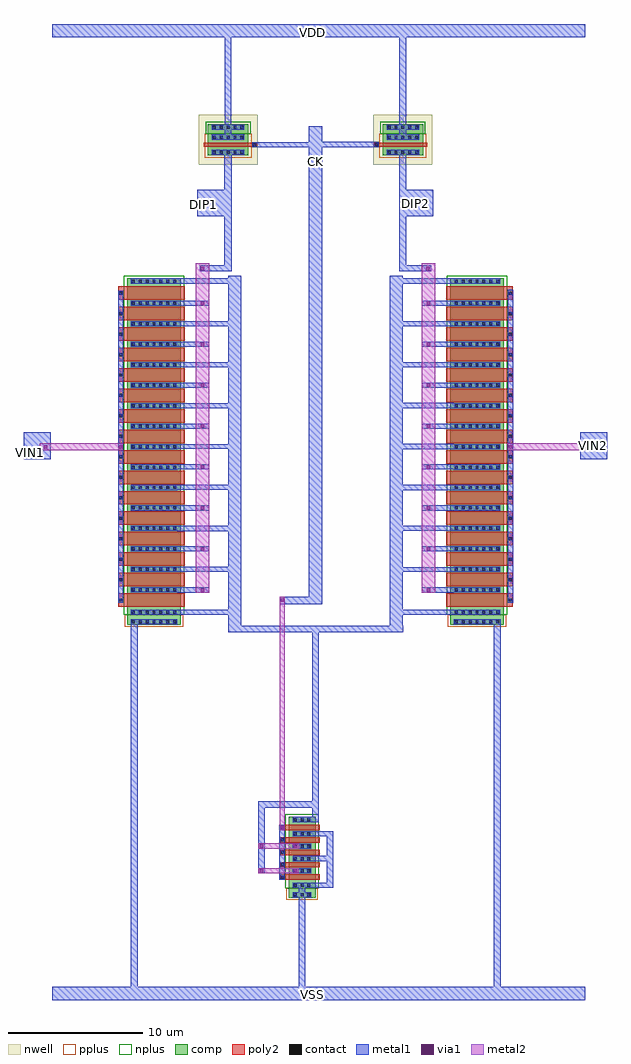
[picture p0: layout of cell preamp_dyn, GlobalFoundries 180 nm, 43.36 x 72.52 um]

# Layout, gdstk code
from math import pi, radians
import gdstk
lib = gdstk.Library(unit=1e-6, precision=5e-09)
def R(c, l, rs):  # rectangles x0, y0, x1, y1
    for r in rs: c.add(gdstk.rectangle(r[:2], r[2:], *l))
def A(c, l, x, y, w, h, nx, ny, dx, dy):  # array of equal rectangles
    R(c, l, [(x+i*dx, y+j*dy, x+i*dx+w, y+j*dy+h) for i in range(nx) for j in range(ny)])
nwell = (21, 0)
comp = (22, 0)
poly2 = (30, 0)
pplus = (31, 0)
nplus = (32, 0)
contact = (33, 0)
metal1 = (34, 0)
via1 = (35, 0)
metal2 = (36, 0)

nfet_2 = lib.new_cell('nfet$2')
R(nfet_2, comp, [(-0.42,0,0,2), (0,0,4.46,2), (4.46,0,4.88,2), (4.88,0,5.59,2)])
A(nfet_2, poly2, 0.19, -0.3, 0.4, 2.6, 5, 1, 0.92, 0)
A(nfet_2, poly2, 0.19, 2.3, 0.4, 0.36, 5, 1, 0.92, 0)
R(nfet_2, pplus, [(4.88,-0.17,5.76,2.17)])
R(nfet_2, nplus, [(-0.59,-0.24,4.88,2.24)])
A(nfet_2, contact, -0.32, 0.38, 0.22, 0.22, 1, 3, 0, 0.51)
A(nfet_2, contact, 0.74, 0.38, 0.22, 0.22, 4, 3, 0.92, 0.51)
A(nfet_2, contact, 4.56, 0.38, 0.22, 0.22, 1, 3, 0, 0.51)
A(nfet_2, contact, 5.27, 0.38, 0.22, 0.22, 1, 3, 0, 0.51)
A(nfet_2, contact, 0.28, 2.37, 0.22, 0.22, 5, 1, 0.92, 0)
A(nfet_2, metal1, 0.66, 0.3, 0.38, 1.4, 4, 1, 0.92, 0)
A(nfet_2, metal1, 0.2, 2.29, 0.38, 0.38, 5, 1, 0.92, 0)
R(nfet_2, metal1, [(-0.4,0.3,-0.02,1.7), (4.48,0.3,4.86,1.7), (5.19,0.3,5.57,1.7)])

pfet = lib.new_cell('pfet')
R(pfet, nwell, [(-1.15,-0.69,2.56,3.69)])
R(pfet, comp, [(-0.46,0,0,3), (0,0,0.68,3), (0.68,0,1.14,3), (1.14,0,1.87,3)])
R(pfet, poly2, [(0.19,-0.3,0.49,3.3), (0.15,3.3,0.53,3.68)])
R(pfet, pplus, [(-0.63,-0.24,1.14,3.24)])
R(pfet, nplus, [(1.14,-0.17,2.04,3.17)])
A(pfet, contact, -0.34, 0.37, 0.22, 0.22, 1, 5, 0, 0.51)
A(pfet, contact, 0.8, 0.37, 0.22, 0.22, 1, 5, 0, 0.51)
A(pfet, contact, 1.53, 0.37, 0.22, 0.22, 1, 5, 0, 0.51)
R(pfet, contact, [(0.23,3.38,0.45,3.6)])
R(pfet, metal1, [(-0.42,0.29,-0.04,2.71), (0.72,0.29,1.1,2.71), (1.45,0.29,1.83,2.71), (0.15,3.3,0.53,3.68)])

nfet = lib.new_cell('nfet')
R(nfet, comp, [(-0.42,0,0,4), (0,0,24.18,4), (24.18,0,24.6,4), (24.6,0,25.31,4)])
A(nfet, poly2, 0.19, -0.3, 1, 4.6, 16, 1, 1.52, 0)
A(nfet, poly2, 0.19, 4.3, 1, 0.36, 16, 1, 1.52, 0)
R(nfet, pplus, [(24.6,-0.17,25.48,4.17)])
R(nfet, nplus, [(-0.59,-0.24,24.6,4.24)])
A(nfet, contact, -0.32, 0.36, 0.22, 0.22, 1, 7, 0, 0.51)
A(nfet, contact, 1.34, 0.36, 0.22, 0.22, 15, 7, 1.52, 0.51)
A(nfet, contact, 24.28, 0.36, 0.22, 0.22, 1, 7, 0, 0.51)
A(nfet, contact, 24.99, 0.36, 0.22, 0.22, 1, 7, 0, 0.51)
A(nfet, contact, 0.58, 4.37, 0.22, 0.22, 16, 1, 1.52, 0)
A(nfet, metal1, 1.26, 0.28, 0.38, 3.44, 15, 1, 1.52, 0)
A(nfet, metal1, 0.5, 4.29, 0.38, 0.38, 16, 1, 1.52, 0)
R(nfet, metal1, [(-0.4,0.28,-0.02,3.72), (24.2,0.28,24.58,3.72), (24.91,0.28,25.29,3.72)])

preamp_dyn = lib.new_cell('preamp_dyn')
R(preamp_dyn, metal1, [(-19.56,-53.21,20.05,-52.21), (-1.23,-52.22,-0.77,-44.49), (-13.72,-52.21,-13.22,-24.91), (13.25,-52.21,13.75,-24.91), (-0.3,-44.86,1.33,-44.49), (0.83,-44.86,1.33,-40.66), (-2.68,-44.26,-2.3,-40.2), (-4.24,-43.8,-3.76,-38.43), (-0.3,-42.9,1.33,-42.5), (-0.3,-41.05,1.33,-40.66), (-1.7,-40,0.25,-39.6), (-0.25,-40,0.25,-25.88), (-3.76,-38.94,-0.25,-38.43), (-6.48,-25.88,6.52,-25.39), (-6.5,-25.39,-5.5,0.61), (5.5,-25.39,6.5,0.61), (-10.28,-24.58,-6.5,-24.2), (6.5,-24.58,10.28,-24.21), (-2.67,-23.8,-0.5,-23.25), (-0.5,-23.8,0.5,11.7), (14.27,-23.69,14.69,-0.43), (-14.67,-23.68,-14.28,-0.5), (-10.28,-22.94,-7.89,-22.54), (7.89,-22.94,10.28,-22.54), (6.5,-21.4,10.28,-21.04), (-10.28,-21.39,-6.5,-21.02), (-10.28,-19.87,-7.89,-19.5), (7.89,-19.87,10.28,-19.5), (-10.28,-18.37,-6.5,-17.98), (6.5,-18.36,10.28,-17.98), (-10.28,-16.85,-7.89,-16.46), (7.89,-16.85,10.28,-16.46), (6.5,-15.32,10.28,-14.93), (-10.28,-15.31,-6.5,-14.94), (-10.28,-13.77,-7.89,-13.42), (7.89,-13.77,10.28,-13.42), (-21.68,-13.02,-19.68,-11.02), (19.68,-13.02,21.68,-11.02), (6.5,-12.28,10.28,-11.89), (-10.28,-12.26,-6.5,-11.9), (-10.28,-10.76,-7.89,-10.38), (7.89,-10.76,10.28,-10.38), (-10.28,-9.25,-6.5,-8.86), (6.5,-9.24,10.28,-8.84), (-10.28,-7.71,-7.89,-7.34), (7.89,-7.71,10.28,-7.34), (-10.28,-6.2,-6.5,-5.82), (6.5,-6.2,10.28,-5.83), (-10.28,-4.68,-7.89,-4.3), (7.89,-4.68,10.28,-4.3), (-10.28,-3.16,-6.5,-2.78), (6.5,-3.16,10.28,-2.79), (-10.28,-1.64,-7.89,-1.26), (7.89,-1.64,10.28,-1.26), (-10.28,0,-6.5,0.4), (6.5,0.02,10.28,0.4), (-8.61,0.95,-6.23,1.37), (-6.78,0.95,-6.23,9.96), (6.21,0.95,6.76,9.96), (6.21,0.95,8.59,1.37), (-8.78,5.01,-6.78,7.01), (6.76,5.01,8.76,7.01), (-4.69,10.14,-0.5,10.53), (0.5,10.15,4.69,10.55), (-6.76,10.72,-6.26,18.31), (6.24,10.72,6.74,18.31), (-19.56,18.31,20.05,19.31)])
A(preamp_dyn, via1, -8.52, -19.83, 0.26, 0.26, 1, 3, 0, 3.05)
A(preamp_dyn, via1, 8.26, -19.83, 0.26, 0.26, 1, 3, 0, 3.05)
R(preamp_dyn, via1, [(-4.14,-43.75,-3.88,-43.49), (-1.63,-43.75,-1.37,-43.49), (-4.14,-41.91,-3.88,-41.65), (-1.63,-41.91,-1.37,-41.65), (-2.6,-40.53,-2.34,-40.27), (-2.6,-23.62,-2.34,-23.36), (-8.52,-22.89,-8.26,-22.63), (8.26,-22.89,8.52,-22.63), (-20.2,-12.24,-19.94,-11.98), (-14.62,-12.24,-14.36,-11.98), (14.35,-12.24,14.61,-11.98), (19.83,-12.24,20.09,-11.98), (-8.52,-10.7,-8.26,-10.44), (8.26,-10.7,8.52,-10.44), (-8.52,-7.66,-8.26,-7.4), (8.26,-7.66,8.52,-7.4), (-8.52,-4.64,-8.26,-4.38), (8.26,-4.64,8.52,-4.38), (-8.52,-1.58,-8.26,-1.32), (-8.52,-1.58,-8.26,-1.32), (8.26,-1.58,8.52,-1.32), (8.26,-1.58,8.52,-1.32), (-8.52,1.03,-8.26,1.29), (8.22,1.03,8.48,1.29)])
R(preamp_dyn, metal2, [(-4.24,-43.8,-1.24,-43.42), (-4.24,-41.96,-1.22,-41.58), (-2.67,-40.59,-2.29,-23.25), (-8.89,-22.94,-7.89,1.53), (7.89,-22.94,8.89,1.53), (-20.49,-12.37,-14.29,-11.83), (14.23,-12.37,20.43,-11.83)])
preamp_dyn.add(gdstk.Reference(nfet_2, (0,-40.01), rotation=3*pi/2, x_reflection=True))
preamp_dyn.add(gdstk.Reference(pfet, (7.99,10), rotation=pi/2))
preamp_dyn.add(gdstk.Reference(nfet, (10,0), rotation=3*pi/2))
preamp_dyn.add(gdstk.Reference(nfet, (-10,0), rotation=3*pi/2, x_reflection=True))
preamp_dyn.add(gdstk.Reference(pfet, (-7.99,10), rotation=pi/2, x_reflection=True))
preamp_dyn.add(gdstk.Label('DIP1', (-8.34,5.9), layer=34, texttype=10))
preamp_dyn.add(gdstk.Label('DIP2', (7.43,5.99), layer=34, texttype=10))
preamp_dyn.add(gdstk.Label('CK', (-0.02,9.1), layer=34, texttype=10))
preamp_dyn.add(gdstk.Label('VDD', (-0.22,18.71), layer=34, texttype=10))
preamp_dyn.add(gdstk.Label('VSS', (-0.22,-52.81), layer=34, texttype=10))
preamp_dyn.add(gdstk.Label('VIN1', (-21.14,-12.56), layer=34, texttype=10))
preamp_dyn.add(gdstk.Label('VIN2', (20.68,-12.02), layer=34, texttype=10))

lib.write_gds('preamp_dyn.gds')
